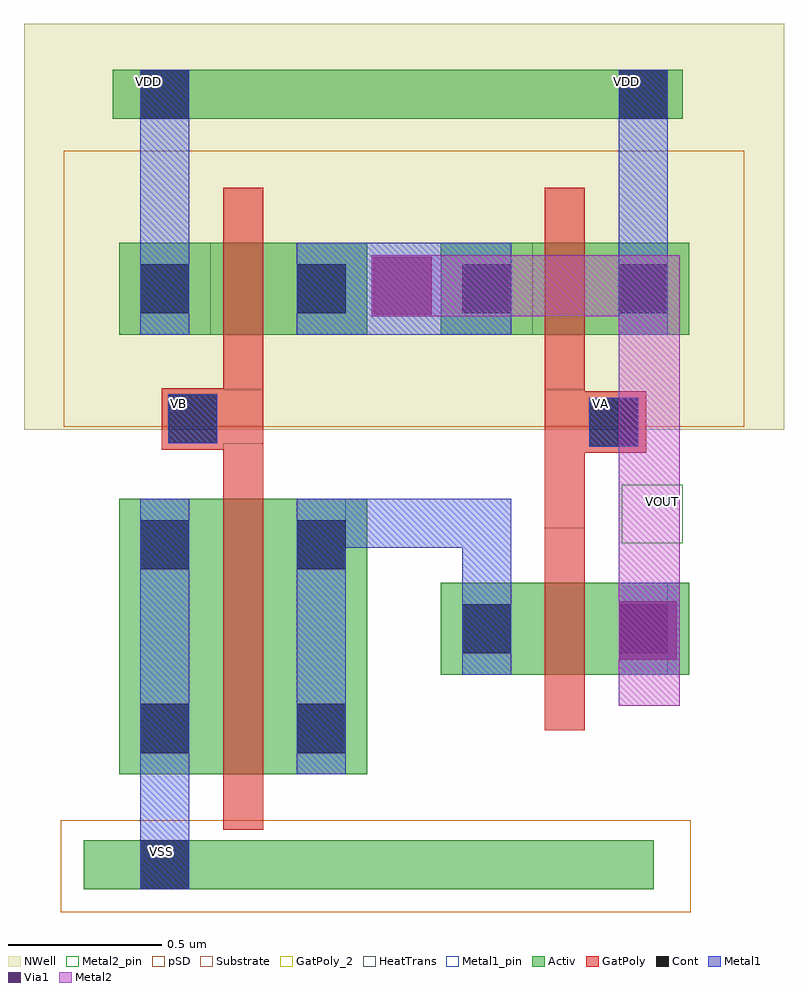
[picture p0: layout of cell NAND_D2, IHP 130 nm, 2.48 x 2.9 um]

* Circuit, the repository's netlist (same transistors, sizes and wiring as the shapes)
* Extracted by KLayout with SG13G2 LVS runset on : 23/01/2026 18:55

.SUBCKT NAND_D2
M$1 \$5 \$4 \$6 \$1 sg13_lv_nmos L=0.13u W=0.3u AS=0.102p AD=0.102p PS=1.28u
+ PD=1.28u
M$2 \$6 \$3 \$1 \$1 sg13_lv_nmos L=0.13u W=0.9u AS=0.306p AD=0.306p PS=2.48u
+ PD=2.48u
M$3 \$5 \$3 \$2 \$2 sg13_lv_pmos L=0.13u W=0.3u AS=0.102p AD=0.102p PS=1.28u
+ PD=1.28u
M$4 \$2 \$4 \$5 \$2 sg13_lv_pmos L=0.13u W=0.3u AS=0.102p AD=0.102p PS=1.28u
+ PD=1.28u
.ENDS NAND_D2

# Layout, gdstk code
from math import pi, radians
import gdstk
lib = gdstk.Library(unit=1e-6, precision=5e-09)
def R(c, l, rs):  # rectangles x0, y0, x1, y1
    for r in rs: c.add(gdstk.rectangle(r[:2], r[2:], *l))
Activ = (1, 0)
GatPoly = (5, 0)
GatPoly_2 = (5, 2)
Cont = (6, 0)
Metal1 = (8, 0)
Metal1_pin = (8, 2)
Metal2 = (10, 0)
Metal2_pin = (10, 2)
pSD = (14, 0)
Via1 = (19, 0)
NWell = (31, 0)
Substrate = (40, 0)
HeatTrans = (51, 0)

pmos_2 = lib.new_cell('pmos$2')
R(pmos_2, Activ, [(0,0,0.3,0.3), (0,0,0.81,0.3), (0.51,0,0.81,0.3)])
R(pmos_2, GatPoly, [(0.34,-0.18,0.47,0.48), (0.34,-0.18,0.47,0.48)])
R(pmos_2, Cont, [(0.07,0.07,0.23,0.23), (0.58,0.07,0.74,0.23)])
R(pmos_2, Metal1, [(0.07,0,0.23,0.3), (0.07,0,0.23,0.3), (0.58,0,0.74,0.3), (0.58,0,0.74,0.3)])
R(pmos_2, pSD, [(-0.18,-0.3,0.99,0.6)])
R(pmos_2, NWell, [(-0.31,-0.31,1.12,0.61)])
R(pmos_2, Substrate, [(0.51,0,0.81,0.3)])
R(pmos_2, HeatTrans, [(0.34,-0.18,0.47,0.48)])
pmos_2.add(gdstk.Label('pmos', (0.405,0.15), layer=63, texttype=0))
pmos_2.add(gdstk.Label('pmos', (0.405,0.15), layer=51, texttype=0))

nmos_1 = lib.new_cell('nmos$1')
R(nmos_1, Activ, [(0,0,0.3,0.3), (0,0,0.81,0.9), (0.51,0,0.81,0.3)])
R(nmos_1, GatPoly, [(0.34,-0.18,0.47,1.08)])
R(nmos_1, GatPoly_2, [(0.34,-0.18,0.47,1.08)])
R(nmos_1, Cont, [(0.07,0.07,0.23,0.23), (0.58,0.07,0.74,0.23), (0.07,0.67,0.23,0.83), (0.58,0.67,0.74,0.83)])
R(nmos_1, Metal1, [(0.07,0,0.23,0.9), (0.58,0,0.74,0.9)])
R(nmos_1, Metal1_pin, [(0.07,0,0.23,0.9), (0.58,0,0.74,0.9)])
R(nmos_1, HeatTrans, [(0.34,-0.18,0.47,1.08)])
nmos_1.add(gdstk.Label('nmos', (0.405,0.45), layer=63, texttype=0))
nmos_1.add(gdstk.Label('nmos', (0.405,0.45), layer=51, texttype=0))

nmos_2 = lib.new_cell('nmos$2')
R(nmos_2, Activ, [(0,0,0.3,0.3), (0,0,0.81,0.3), (0.51,0,0.81,0.3)])
R(nmos_2, GatPoly, [(0.34,-0.18,0.47,0.48)])
R(nmos_2, GatPoly_2, [(0.34,-0.18,0.47,0.48)])
R(nmos_2, Cont, [(0.07,0.07,0.23,0.23), (0.58,0.07,0.74,0.23)])
R(nmos_2, Metal1, [(0.07,0,0.23,0.3), (0.58,0,0.74,0.3)])
R(nmos_2, Metal1_pin, [(0.07,0,0.23,0.3), (0.58,0,0.74,0.3)])
R(nmos_2, HeatTrans, [(0.34,-0.18,0.47,0.48)])
nmos_2.add(gdstk.Label('nmos', (0.405,0.15), layer=63, texttype=0))
nmos_2.add(gdstk.Label('nmos', (0.405,0.15), layer=51, texttype=0))

nand_d2 = lib.new_cell('NAND_D2')
R(nand_d2, Activ, [(-0.055,-0.56,1.805,-0.4), (0.04,1.955,1.9,2.115)])
R(nand_d2, GatPoly, [(1.45,0.44,1.58,1.07), (0.4,0.78,0.53,1.07), (1.58,0.865,1.78,1.065), (0.2,0.875,0.4,1.075)])
R(nand_d2, Cont, [(0.13,-0.56,0.29,-0.4), (1.595,0.885,1.755,1.045), (0.22,0.895,0.38,1.055), (0.13,1.955,0.29,2.115), (1.69,1.955,1.85,2.115)])
R(nand_d2, Metal1, [(0.13,-0.56,0.29,-0.185), (1.69,0.14,1.89,0.44), (1.595,0.885,1.755,1.045), (0.22,0.895,0.38,1.055), (0.64,1.25,1.34,1.55), (0.13,1.55,0.29,2.115), (1.69,1.55,1.85,2.115)])
R(nand_d2, Metal1_pin, [(0.13,-0.56,0.29,-0.4), (1.595,0.885,1.755,1.045), (0.22,0.895,0.38,1.055), (0.13,1.955,0.29,2.115), (1.69,1.955,1.85,2.115)])
R(nand_d2, Metal2_pin, [(1.7,0.57,1.9,0.76)])
R(nand_d2, pSD, [(-0.13,-0.635,1.925,-0.335)])
R(nand_d2, Via1, [(1.69,0.19,1.88,0.38), (0.89,1.315,1.08,1.505)])
R(nand_d2, NWell, [(-0.25,1.86,2.23,2.265)])
nand_d2.add(gdstk.FlexPath([(1.26,0.43),(1.26,0.635),(0.72,0.635),(0.72,0.44)], 0.16, ends="flush", simple_path=True, layer=8, datatype=0))  # Metal1
nand_d2.add(gdstk.FlexPath([(0.885,1.41),(1.79,1.41),(1.79,0.04)], 0.2, ends="flush", simple_path=True, layer=10, datatype=0))  # Metal2
nand_d2.add(gdstk.Reference(pmos_2, (1.92,1.25), rotation=pi, x_reflection=True))
nand_d2.add(gdstk.Reference(pmos_2, (0.87,1.25), rotation=pi, x_reflection=True))
nand_d2.add(gdstk.Reference(nmos_1, (0.87,-0.185), rotation=pi, x_reflection=True))
nand_d2.add(gdstk.Reference(nmos_2, (1.92,0.14), rotation=pi, x_reflection=True))
nand_d2.add(gdstk.Label('VB', (0.255,1.025), layer=8, texttype=2))
nand_d2.add(gdstk.Label('VA', (1.63,1.025), layer=8, texttype=2))
nand_d2.add(gdstk.Label('VDD', (1.715,2.075), layer=8, texttype=2))
nand_d2.add(gdstk.Label('VDD', (0.155,2.075), layer=8, texttype=2))
nand_d2.add(gdstk.Label('VSS', (0.2,-0.435), layer=8, texttype=2))
nand_d2.add(gdstk.Label('VOUT', (1.835,0.705), layer=10, texttype=2))

lib.write_gds('NAND_D2.gds')
